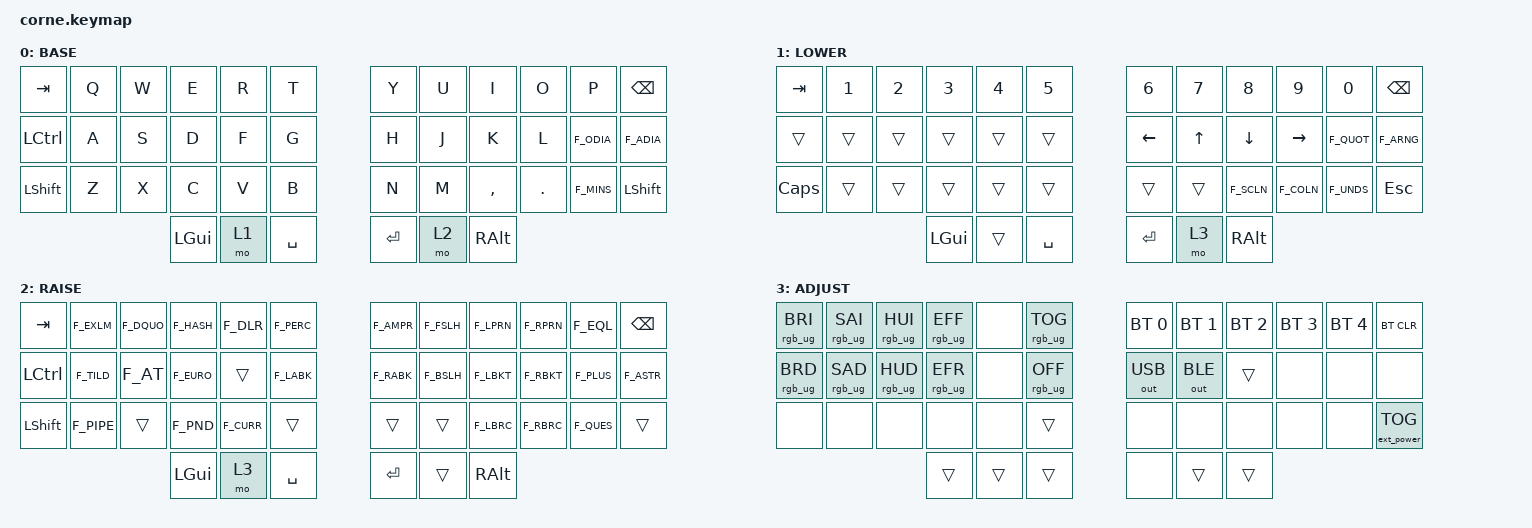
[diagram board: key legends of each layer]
/*
 * Copyright (c) 2020 The ZMK Contributors
 *
 * SPDX-License-Identifier: MIT
 */

#include <behaviors.dtsi>
#include <dt-bindings/zmk/keys.h>
#include <dt-bindings/zmk/bt.h>
#include "definitions.h"
#include <dt-bindings/zmk/rgb.h>
#include <dt-bindings/zmk/outputs.h>
#include <dt-bindings/zmk/ext_power.h>



/ {
        keymap {
                compatible = "zmk,keymap";

                default_layer {
                        label = "BASE";
// -----------------------------------------------------------------------------------------
// |  TAB |  Q  |  W  |  E  |  R  |  T  |   |  Y  |  U   |  I  |  O  |  P  | BKSP |
// | CTRL |  A  |  S  |  D  |  F  |  G  |   |  H  |  J   |  K  |  L  |  Ö  |  Ä   |
// | SHFT |  Z  |  X  |  C  |  V  |  B  |   |  N  |  M   |  ,  |  .  |  -  | SHFT |
//                    | GUI | LWR | SPC |   | ENT | RSE  | ALT |
                        bindings = <
   &kp TAB   &kp Q &kp W &kp E    &kp R &kp T     &kp Y   &kp U &kp I     &kp O   &kp P      &kp BSPC
   &kp LCTRL &kp A &kp S &kp D    &kp F &kp G     &kp H   &kp J &kp K     &kp L   &kp F_ODIA &kp F_ADIA
   &kp LSHFT &kp Z &kp X &kp C    &kp V &kp B     &kp N   &kp M &kp COMMA &kp DOT &kp F_MINS &kp LSHIFT
                         &kp LGUI &mo 1 &kp SPACE &kp RET &mo 2 &kp RALT
                        >;
                };
                lower_layer {
                        label = "LOWER";
// -----------------------------------------------------------------------------------------
// |  TAB |  1  |  2  |  3  |  4  |  5  |   |  6  |  7  |  8  |  9  |  0  | BKSP |
// |      |     |     |     |     |     |   | LFT |  UP | DWN | RGT |  '  |  Å   |
// | CAPS |     |     |     |     |     |   |     |     |  ;  |  :  |  _  | ESC  |
//                    | GUI |     | SPC |   | ENT | ADJ | ALT |
                        bindings = <
   &kp TAB  &kp N1 &kp N2 &kp N3   &kp N4 &kp N5    &kp N6   &kp N7 &kp N8     &kp N9     &kp N0     &kp BSPC
   &trans   &trans &trans &trans   &trans &trans    &kp LEFT &kp UP &kp DOWN   &kp RIGHT  &kp F_QUOT &kp F_ARNG
   &kp CAPS &trans &trans &trans   &trans &trans    &trans   &trans &kp F_SCLN &kp F_COLN &kp F_UNDS &kp ESC
                          &kp LGUI &trans &kp SPACE &kp RET  &mo 3  &kp RALT
                        >;
                };

                raise_layer {
                        label = "RAISE";
// -----------------------------------------------------------------------------------------
// |  TAB |  !  |  "  |  #  |  $  |  %  |   |  &  |  /  |  (  |  )  |  =  | BKSP |
// | CTRL |  ~  |  @  |  €  |     |  <  |   |  >  |  \  |  [  |  ]  |  +  |  *   |
// | SHFT | "|" |     |  £  |  ¤  |     |   |     |     |  {  |  }  |  ?  |      |
//                    | GUI | ADJ | SPC |   | ENT |     | ALT |
                        bindings = <
   &kp TAB   &kp F_EXLM &kp F_DQUO &kp F_HASH &kp F_DLR  &kp F_PERC &kp F_AMPR &kp F_FSLH  &kp F_LPRN &kp F_RPRN &kp F_EQL  &kp BSPC
   &kp LCTRL &kp F_TILD &kp F_AT   &kp F_EURO &trans     &kp F_LABK &kp F_RABK &kp F_BSLH  &kp F_LBKT &kp F_RBKT &kp F_PLUS &kp F_ASTR
   &kp LSHFT &kp F_PIPE &trans     &kp F_PND  &kp F_CURR &trans     &trans     &trans      &kp F_LBRC &kp F_RBRC &kp F_QUES &trans
                                   &kp LGUI   &mo 3      &kp SPACE  &kp RET    &trans      &kp RALT
                        >;
                };

                adjust_layer {
                        label = "ADJUST";
// -----------------------------------------------------------------------------------------
// | RGB BRI+ | RGB SAT+ | RGB HUE+ | RGB ANI+ |    | RGB TOG |   |  BT1  | BT2 | BT3 | BT4 | BT5 | BT CLR |
// | RGB BRI- | RGB SAT- | RGB HUE- | RGB ANI- |    | OUT USB |   |  USB  | BLE |     |     |     |        |
// |          |          |          |          |    |         |   |       |     |     |     |     | EP TOG |
//                                              |     |     |     |     |     |
                        bindings = <
   &rgb_ug RGB_BRI &rgb_ug RGB_SAI &rgb_ug RGB_HUI &rgb_ug RGB_EFF &none        &rgb_ug RGB_TOG           &bt BT_SEL 0 &bt BT_SEL 1 &bt BT_SEL 2 &bt BT_SEL 3 &bt BT_SEL 4 &bt BT_CLR
   &rgb_ug RGB_BRD &rgb_ug RGB_SAD &rgb_ug RGB_HUD &rgb_ug RGB_EFR &none        &rgb_ug RGB_OFF           &out OUT_USB &out OUT_BLE &trans       &none        &none        &none 
   &none           &none           &none           &none           &none        &trans               &none        &none        &none        &none        &none        &ext_power EP_TOG
                                                   &trans          &trans       &trans                    &none        &trans       &trans
                        >;
                };
        };
};
